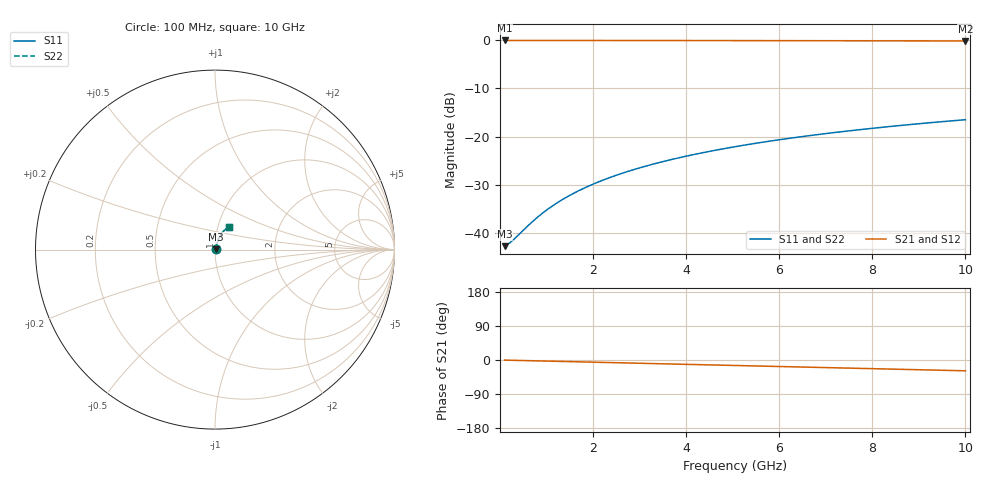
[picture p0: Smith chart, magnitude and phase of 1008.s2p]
# Hz S RI R 50.00
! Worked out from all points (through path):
!   100 points, 100 MHz to 10 GHz, reference 50 ohm
!   highest |S21| = -0.06 dB at 100 MHz (marker M1); lowest = -0.2 dB at 10 GHz (marker M2)
!   group delay of S21, straight-line fit = 7.92 ps
!   lowest |S11| = -42.6 dB at 100 MHz (marker M3), VSWR 1.01, Z = 50.7 + j0.156 ohm
!   |S11| at or under -10 dB: start of sweep to end of sweep
!   |S22| runs from -42.6 to -16.5 dB; largest |S21 - S12| = 0
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1e8  0.00723 0.00154  0.9928 -0.00497  0.9928 -0.00497  0.00723 0.00154
2e8  0.0073 0.00308  0.9927 -0.00994  0.9927 -0.00994  0.0073 0.00308
3e8  0.00737 0.00462  0.9926 -0.0149  0.9926 -0.0149  0.00737 0.00462
7e8  0.00777 0.0108  0.9919 -0.0348  0.9919 -0.0348  0.00777 0.0108
8e8  0.0079 0.0123  0.9917 -0.0397  0.9917 -0.0397  0.0079 0.0123
1e9  0.00821 0.0154  0.9912 -0.0497  0.9912 -0.0497  0.00821 0.0154
1.2e9  0.00857 0.0184  0.9905 -0.0596  0.9905 -0.0596  0.00857 0.0184
1.4e9  0.009 0.0215  0.9898 -0.0695  0.9898 -0.0695  0.009 0.0215
1.6e9  0.00948 0.0245  0.989 -0.0794  0.989 -0.0794  0.00948 0.0245
1.8e9  0.01 0.0275  0.988 -0.0893  0.988 -0.0893  0.01 0.0275
2.1e9  0.0109 0.0321  0.9864 -0.1041  0.9864 -0.1041  0.0109 0.0321
2.5e9  0.0124 0.038  0.9838 -0.1237  0.9838 -0.1237  0.0124 0.038
2.9e9  0.0141 0.044  0.9809 -0.1433  0.9809 -0.1433  0.0141 0.044
3.4e9  0.0165 0.0512  0.9766 -0.1677  0.9766 -0.1677  0.0165 0.0512
3.8e9  0.0187 0.057  0.9727 -0.1871  0.9727 -0.1871  0.0187 0.057
4.2e9  0.0211 0.0626  0.9683 -0.2064  0.9683 -0.2064  0.0211 0.0626
5.1e9  0.0274 0.0749  0.9571 -0.2494  0.9571 -0.2494  0.0274 0.0749
5.9e9  0.0338 0.0853  0.9454 -0.287  0.9454 -0.287  0.0338 0.0853
6.7e9  0.0411 0.0951  0.9321 -0.324  0.9321 -0.324  0.0411 0.0951
7.5e9  0.0491 0.1043  0.9173 -0.3602  0.9173 -0.3602  0.0491 0.1043
8.4e9  0.0589 0.1138  0.8989 -0.4  0.8989 -0.4  0.0589 0.1138
1e10  0.0782 0.1283  0.8618 -0.4681  0.8618 -0.4681  0.0782 0.1283
